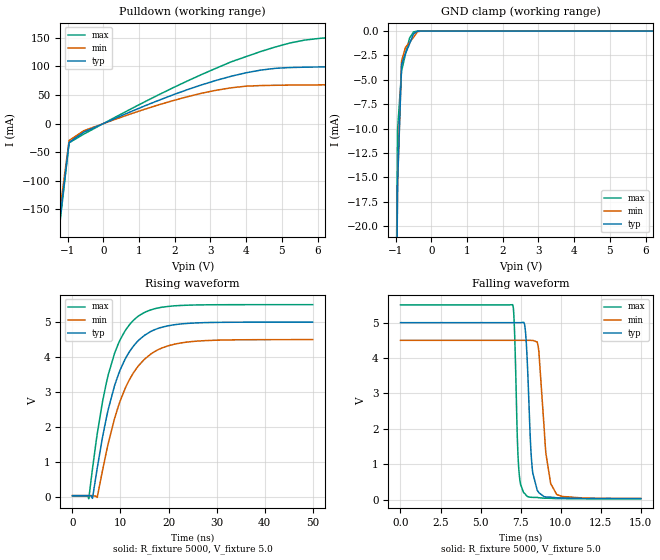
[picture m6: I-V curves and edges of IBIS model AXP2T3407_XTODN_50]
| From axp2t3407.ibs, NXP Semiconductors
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|   Model AXP2T3407_XTODN_50
[Model]   AXP2T3407_XTODN_50
Model_type   Open_drain
Polarity   Non-Inverting
Vmeas =  2.50V
Cref  =  5e-12
Rref  =  10e+3
Vref  =  5.0V
C_comp   0.9615pF   0.8290pF   1.0880pF
[Model Spec]
| Note: The input and output voltage ratings may be exceeded if the input and
|   output current ratings are observed (please refer to the data sheet)
|   Subparameter   typ   min   max
| Timing Thresholds
Vmeas   2.5   2.25   2.75
|Ambient temperature:   25   85   -40
[Temperature Range]   30   90   -35
[Voltage Range]   5.0   4.5   5.5
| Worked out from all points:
|   slope of the pulldown table from 0 to 0.75 V, typ, clamps not added: 37 ohm
|   GND clamp passes 1 mA (typ) near -0.58 V on its own axis
|   rising waveform, R_fixture 5000, V_fixture 5.0: 20-80 % time 5.81ns typ, 6.46ns min, 5.15ns max; typ from 0.034 V to 5 V
|   falling waveform, R_fixture 5000, V_fixture 5.0: 20-80 % time 294ps typ, 484ps min, 206ps max; typ from 5 V to 0.034 V
|Process Range   nominal   slow   fast
[GND_clamp]
|   voltage   I(typ)   I(min)   I(max)
-5.5V     -2.957A    -2.756A    -3.17A
-1.056V   -61.76mA   -55.78mA   -55.53mA
-944.4mV  -15.58mA   -15.37mA   -10.03mA
-833.3mV  -3.412mA   -3.047mA   -4.112mA
-722.2mV  -2.287mA   -1.662mA   -2.321mA
-611.1mV  -1.33mA    -1.186mA   -742.4uA
-500mV    -281.9uA   -644uA     -90.52uA
-388.9mV  -19.05uA   -70.75uA   -2.215uA
-277.8mV  -361.9nA   -2.29uA    -18.19nA
11V       0A         0A         0A
[Pulldown]
|   voltage   I(typ)   I(min)   I(max)
-5.5V     -2.959A    -2.757A    -3.174A
-1.371V   -249mA     -226mA     -259mA
-958mV    -32.8mA    -29.6mA    -33.6mA
-545mV    -15mA      -12.4mA    -18.3mA
2.345V    59.1mA     46.8mA     74.2mA
3.997V    88.8mA     65.4mA     117mA
4.823V    96.6mA     67mA       134mA
5.649V    98.6mA     67.5mA     146mA
6.474V    99.3mA     67.9mA     151mA
8.539V    102mA      71.5mA     154mA
10.08V    111mA      80.8mA     159mA
11V       121mA      89.4mA     168mA
[Ramp]
| variable   typ   min   max
dV/dt_r  3.0300E+00/5.8580E-09  2.7150E+00/6.5020E-09  3.3400E+00/5.1810E-09
dV/dt_f  3.0300E+00/3.0470E-10  2.7150E+00/4.1980E-10  3.3400E+00/2.1330E-10
R_load = 5000
[Rising Waveform]
R_fixture   = 5000
V_fixture   = 5.0
V_fixture_min = 4.5
V_fixture_max = 5.5
| time   V(typ)   V(min)   V(max)
0s        34.27mV    37.73mV    30.9mV
3.4ns     34.27mV    37.73mV    -52mV
4.16ns    -42.26mV   37.73mV    793.1mV
5.16ns    825.7mV    -9.678mV   1.807V
7.08ns    2.275V     1.3V       3.277V
8.72ns    3.159V     2.218V     4.089V
10.92ns   3.93V      3.087V     4.743V
13.44ns   4.433V     3.696V     5.143V
22.48ns   4.947V     4.403V     5.477V
50ns      5V         4.5V       5.5V
[Falling Waveform]
R_fixture   = 5000
V_fixture   = 5.0
V_fixture_min = 4.5
V_fixture_max = 5.5
| time   V(typ)   V(min)   V(max)
0s        5V         4.5V       5.5V
7ns       5V         4.5V       5.507V
7.36ns    5V         4.5V       1.065V
7.68ns    5.008V     4.5V       210.5mV
7.86ns    4.402V     4.5V       120.7mV
8.2ns     1.029V     4.499V     69.1mV
8.54ns    266.4mV    4.453V     65.98mV
9.08ns    80.28mV    1.307V     44.05mV
9.76ns    56.14mV    146.8mV    33.03mV
15ns      34.27mV    37.76mV    30.9mV
